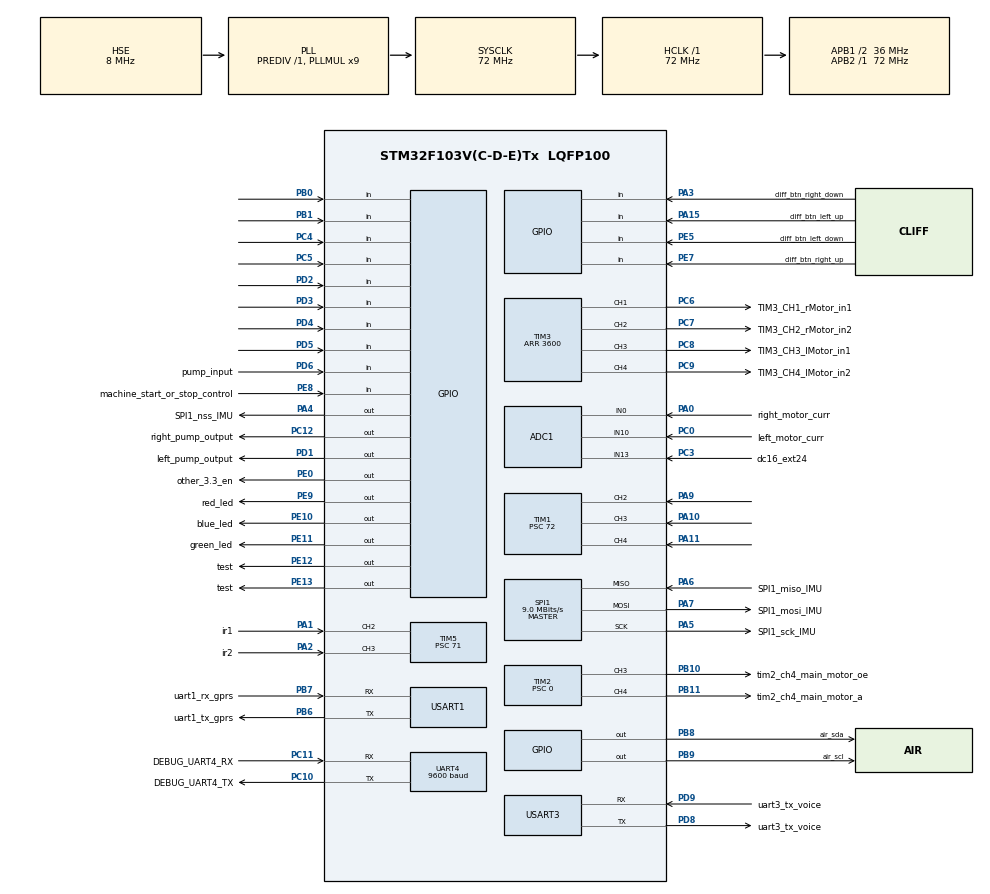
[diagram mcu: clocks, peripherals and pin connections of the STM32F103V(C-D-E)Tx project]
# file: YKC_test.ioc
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ADC1.Channel-0\#ChannelRegularConversion=ADC_CHANNEL_13
ADC1.Channel-1\#ChannelRegularConversion=ADC_CHANNEL_0
ADC1.Channel-2\#ChannelRegularConversion=ADC_CHANNEL_10
ADC1.Channel-3\#ChannelRegularConversion=ADC_CHANNEL_TEMPSENSOR
ADC1.Channel-4\#ChannelRegularConversion=ADC_CHANNEL_VREFINT
ADC1.ExternalTrigConv=ADC_EXTERNALTRIGCONV_T8_TRGO
ADC1.NbrOfConversion=5
ADC1.NbrOfConversionFlag=1
ADC1.Rank-0\#ChannelRegularConversion=1
ADC1.Rank-1\#ChannelRegularConversion=2
ADC1.Rank-2\#ChannelRegularConversion=3
ADC1.Rank-3\#ChannelRegularConversion=4
ADC1.Rank-4\#ChannelRegularConversion=5
ADC1.SamplingTime-0\#ChannelRegularConversion=ADC_SAMPLETIME_1CYCLE_5
ADC1.SamplingTime-1\#ChannelRegularConversion=ADC_SAMPLETIME_1CYCLE_5
ADC1.SamplingTime-2\#ChannelRegularConversion=ADC_SAMPLETIME_1CYCLE_5
ADC1.SamplingTime-3\#ChannelRegularConversion=ADC_SAMPLETIME_239CYCLES_5
ADC1.SamplingTime-4\#ChannelRegularConversion=ADC_SAMPLETIME_1CYCLE_5
ADC1.master=1
Dma.ADC1.0.Direction=DMA_PERIPH_TO_MEMORY
Dma.ADC1.0.Instance=DMA1_Channel1
Dma.ADC1.0.MemDataAlignment=DMA_MDATAALIGN_WORD
Dma.ADC1.0.MemInc=DMA_MINC_ENABLE
Dma.ADC1.0.Mode=DMA_CIRCULAR
Dma.ADC1.0.PeriphDataAlignment=DMA_PDATAALIGN_WORD
Dma.ADC1.0.PeriphInc=DMA_PINC_DISABLE
Dma.ADC1.0.Priority=DMA_PRIORITY_LOW
Dma.Request0=ADC1
Dma.Request1=USART1_RX
Dma.Request2=USART3_RX
Dma.Request3=UART4_RX
Dma.Request4=USART1_TX
Dma.Request5=UART4_TX
Dma.Request6=USART3_TX
Dma.UART4_RX.3.Direction=DMA_PERIPH_TO_MEMORY
Dma.UART4_RX.3.Instance=DMA2_Channel3
Dma.UART4_RX.3.MemDataAlignment=DMA_MDATAALIGN_BYTE
Dma.UART4_RX.3.MemInc=DMA_MINC_ENABLE
Dma.UART4_RX.3.Mode=DMA_NORMAL
Dma.UART4_RX.3.PeriphDataAlignment=DMA_PDATAALIGN_BYTE
Dma.UART4_RX.3.PeriphInc=DMA_PINC_DISABLE
Dma.UART4_RX.3.Priority=DMA_PRIORITY_LOW
Dma.UART4_TX.5.Direction=DMA_MEMORY_TO_PERIPH
Dma.UART4_TX.5.Instance=DMA2_Channel5
Dma.UART4_TX.5.MemDataAlignment=DMA_MDATAALIGN_BYTE
Dma.UART4_TX.5.MemInc=DMA_MINC_ENABLE
Dma.UART4_TX.5.Mode=DMA_NORMAL
Dma.UART4_TX.5.PeriphDataAlignment=DMA_PDATAALIGN_BYTE
Dma.UART4_TX.5.PeriphInc=DMA_PINC_DISABLE
Dma.UART4_TX.5.Priority=DMA_PRIORITY_LOW
Dma.USART1_RX.1.Direction=DMA_PERIPH_TO_MEMORY
Dma.USART1_RX.1.Instance=DMA1_Channel5
Dma.USART1_RX.1.MemDataAlignment=DMA_MDATAALIGN_BYTE
Dma.USART1_RX.1.MemInc=DMA_MINC_ENABLE
Dma.USART1_RX.1.Mode=DMA_NORMAL
Dma.USART1_RX.1.PeriphDataAlignment=DMA_PDATAALIGN_BYTE
Dma.USART1_RX.1.PeriphInc=DMA_PINC_DISABLE
Dma.USART1_RX.1.Priority=DMA_PRIORITY_HIGH
Dma.USART1_TX.4.Direction=DMA_MEMORY_TO_PERIPH
Dma.USART1_TX.4.Instance=DMA1_Channel4
Dma.USART1_TX.4.MemDataAlignment=DMA_MDATAALIGN_BYTE
Dma.USART1_TX.4.MemInc=DMA_MINC_ENABLE
Dma.USART1_TX.4.Mode=DMA_NORMAL
Dma.USART1_TX.4.PeriphDataAlignment=DMA_PDATAALIGN_BYTE
Dma.USART1_TX.4.PeriphInc=DMA_PINC_DISABLE
Dma.USART1_TX.4.Priority=DMA_PRIORITY_HIGH
Dma.USART3_RX.2.Direction=DMA_PERIPH_TO_MEMORY
Dma.USART3_RX.2.Instance=DMA1_Channel3
Dma.USART3_RX.2.MemDataAlignment=DMA_MDATAALIGN_BYTE
Dma.USART3_RX.2.MemInc=DMA_MINC_ENABLE
Dma.USART3_RX.2.Mode=DMA_NORMAL
Dma.USART3_RX.2.PeriphDataAlignment=DMA_PDATAALIGN_BYTE
Dma.USART3_RX.2.PeriphInc=DMA_PINC_DISABLE
Dma.USART3_RX.2.Priority=DMA_PRIORITY_MEDIUM
Dma.USART3_TX.6.Direction=DMA_MEMORY_TO_PERIPH
Dma.USART3_TX.6.Instance=DMA1_Channel2
Dma.USART3_TX.6.MemDataAlignment=DMA_MDATAALIGN_BYTE
Dma.USART3_TX.6.MemInc=DMA_MINC_ENABLE
Dma.USART3_TX.6.Mode=DMA_NORMAL
Dma.USART3_TX.6.PeriphDataAlignment=DMA_PDATAALIGN_BYTE
Dma.USART3_TX.6.PeriphInc=DMA_PINC_DISABLE
Dma.USART3_TX.6.Priority=DMA_PRIORITY_MEDIUM
FREERTOS.Tasks01=DefaultTask,0,128,StartDefaultTask,As weak,NULL,Static,DefaultTaskBuffer,DefaultTaskControlBlock
FREERTOS.configTOTAL_HEAP_SIZE=3072
FREERTOS.configUSE_NEWLIB_REENTRANT=1
FREERTOS.configUSE_TICK_HOOK=1
Mcu.Family=STM32F1
Mcu.Name=STM32F103V(C-D-E)Tx
Mcu.Package=LQFP100
NVIC.DMA1_Channel1_IRQn=true\:5\:0\:false\:false\:true\:true\:false\:true\:true
NVIC.DMA1_Channel2_IRQn=true\:5\:0\:false\:false\:true\:true\:false\:true\:true
NVIC.DMA1_Channel3_IRQn=true\:5\:0\:false\:false\:true\:true\:false\:true\:true
NVIC.DMA1_Channel4_IRQn=true\:5\:0\:false\:false\:true\:true\:false\:true\:true
NVIC.DMA1_Channel5_IRQn=true\:5\:0\:false\:false\:true\:true\:false\:true\:true
NVIC.DMA2_Channel3_IRQn=true\:5\:0\:false\:false\:true\:true\:false\:true\:true
NVIC.DMA2_Channel4_5_IRQn=true\:5\:0\:false\:false\:true\:true\:false\:true\:true
NVIC.PriorityGroup=NVIC_PRIORITYGROUP_4
NVIC.SPI1_IRQn=true\:5\:0\:false\:false\:true\:true\:true\:true\:true
NVIC.TIM1_CC_IRQn=true\:5\:0\:false\:false\:true\:true\:true\:true\:true
NVIC.TIM2_IRQn=true\:5\:0\:false\:false\:true\:true\:true\:true\:true
NVIC.TIM5_IRQn=true\:5\:0\:false\:false\:true\:true\:true\:true\:true
NVIC.UART4_IRQn=true\:5\:0\:false\:false\:true\:true\:true\:true\:true
NVIC.USART1_IRQn=true\:5\:0\:false\:false\:true\:true\:true\:true\:true
NVIC.USART3_IRQn=true\:5\:0\:false\:false\:true\:true\:true\:true\:true
OSC_IN.Mode=HSE-External-Oscillator
OSC_IN.Signal=RCC_OSC_IN
OSC_OUT.Mode=HSE-External-Oscillator
OSC_OUT.Signal=RCC_OSC_OUT
PA0-WKUP.GPIO_Label=right_motor_curr
PA0-WKUP.Signal=ADCx_IN0
PA1.GPIO_Label=ir1
PA1.GPIO_PuPd=GPIO_PULLUP
PA1.Signal=S_TIM5_CH2
PA10.Signal=S_TIM1_CH3
PA11.Signal=S_TIM1_CH4
PA13.Mode=Trace_Asynchronous_SW
PA13.Signal=SYS_JTMS-SWDIO
PA14.Mode=Trace_Asynchronous_SW
PA14.Signal=SYS_JTCK-SWCLK
PA15.GPIO_Label=cliff_btn_left_up
PA15.Signal=GPIO_Input
PA2.GPIO_Label=ir2
PA2.GPIO_PuPd=GPIO_PULLUP
PA2.Signal=S_TIM5_CH3
PA3.GPIO_Label=cliff_btn_right_down
PA3.Signal=GPIO_Input
PA4.GPIO_Label=SPI1_nss_IMU
PA4.PinState=GPIO_PIN_RESET
PA4.Signal=GPIO_Output
PA5.GPIO_Label=SPI1_sck_IMU
PA5.Mode=Full_Duplex_Master
PA5.Signal=SPI1_SCK
PA6.GPIO_Label=SPI1_miso_IMU
PA6.Mode=Full_Duplex_Master
PA6.Signal=SPI1_MISO
PA7.GPIO_Label=SPI1_mosi_IMU
PA7.Mode=Full_Duplex_Master
PA7.Signal=SPI1_MOSI
PA9.Signal=S_TIM1_CH2
PB0.GPIO_Label=right_bounce_btn_?_?
PB0.Signal=GPIO_Input
PB1.GPIO_Label=right_bounce_btn_?_?
PB1.Signal=GPIO_Input
PB10.GPIO_Label=tim2_ch4_main_motor_oe
PB10.Signal=S_TIM2_CH3
PB11.GPIO_Label=tim2_ch4_main_motor_a
PB11.Signal=S_TIM2_CH4
PB3.Mode=Trace_Asynchronous_SW
PB3.Signal=SYS_JTDO-TRACESWO
PB6.GPIO_Label=uart1_tx_gprs
PB6.Mode=Asynchronous
PB6.Signal=USART1_TX
PB7.GPIO_Label=uart1_rx_gprs
PB7.Mode=Asynchronous
PB7.Signal=USART1_RX
PB8.GPIO_Label=air_sda
PB8.GPIO_ModeDefaultOutputPP=GPIO_MODE_OUTPUT_OD
PB8.GPIO_PuPd=GPIO_PULLUP
PB8.GPIO_Speed=GPIO_SPEED_FREQ_HIGH
PB8.PinState=GPIO_PIN_SET
PB8.Signal=GPIO_Output
PB9.GPIO_Label=air_scl
PB9.GPIO_ModeDefaultOutputPP=GPIO_MODE_OUTPUT_OD
PB9.GPIO_PuPd=GPIO_PULLUP
PB9.GPIO_Speed=GPIO_SPEED_FREQ_HIGH
PB9.PinState=GPIO_PIN_SET
PB9.Signal=GPIO_Output
PC0.GPIO_Label=left_motor_curr
PC0.Signal=ADCx_IN10
PC10.GPIO_Label=DEBUG_UART4_TX
PC10.Mode=Asynchronous
PC10.Signal=UART4_TX
PC11.GPIO_Label=DEBUG_UART4_RX
PC11.Mode=Asynchronous
PC11.Signal=UART4_RX
PC12.GPIO_Label=right_pump_output
PC12.GPIO_ModeDefaultOutputPP=GPIO_MODE_OUTPUT_PP
PC12.GPIO_PuPd=GPIO_PULLUP
PC12.Signal=GPIO_Output
PC14-OSC32_IN.Mode=LSE-External-Oscillator
PC14-OSC32_IN.Signal=RCC_OSC32_IN
PC15-OSC32_OUT.Mode=LSE-External-Oscillator
PC15-OSC32_OUT.Signal=RCC_OSC32_OUT
PC3.GPIO_Label=dc16_ext24
PC3.Signal=ADCx_IN13
PC4.GPIO_Label=right_bounce_btn_?_?
PC4.Signal=GPIO_Input
PC5.GPIO_Label=right_bounce_btn_?_?
PC5.Signal=GPIO_Input
PC6.GPIO_Label=TIM3_CH1_rMotor_in1
PC6.Signal=S_TIM3_CH1
PC7.GPIO_Label=TIM3_CH2_rMotor_in2
PC7.Signal=S_TIM3_CH2
PC8.GPIO_Label=TIM3_CH3_lMotor_in1
PC8.Signal=S_TIM3_CH3
PC9.GPIO_Label=TIM3_CH4_lMotor_in2
PC9.Signal=S_TIM3_CH4
PD1.GPIO_Label=left_pump_output
PD1.GPIO_PuPd=GPIO_PULLUP
PD1.PinState=GPIO_PIN_RESET
PD1.Signal=GPIO_Output
PD2.GPIO_Label=left_bounce_btn_?_?
PD2.Signal=GPIO_Input
PD3.GPIO_Label=left_bounce_btn_?_?
PD3.Signal=GPIO_Input
PD4.GPIO_Label=left_bounce_btn_?_?
PD4.Signal=GPIO_Input
PD5.GPIO_Label=left_bounce_btn_?_?
PD5.Signal=GPIO_Input
PD6.GPIO_Label=pump_input
PD6.GPIO_PuPd=GPIO_PULLUP
PD6.Signal=GPIO_Input
PD8.GPIO_Label=uart3_tx_voice
PD8.Mode=Asynchronous
PD8.Signal=USART3_TX
PD9.GPIO_Label=uart3_tx_voice
PD9.Mode=Asynchronous
PD9.Signal=USART3_RX
PE0.GPIO_Label=other_3.3_en
PE0.GPIO_PuPd=GPIO_PULLUP
PE0.Signal=GPIO_Output
PE10.GPIO_Label=blue_led
PE10.GPIO_PuPd=GPIO_PULLUP
PE10.Signal=GPIO_Output
PE11.GPIO_Label=green_led
PE11.GPIO_PuPd=GPIO_PULLUP
PE11.Signal=GPIO_Output
PE12.GPIO_Label=test
PE12.Signal=GPIO_Output
PE13.GPIO_Label=test
PE13.Signal=GPIO_Output
PE5.GPIO_Label=cliff_btn_left_down
PE5.Signal=GPIO_Input
PE7.GPIO_Label=cliff_btn_right_up
PE7.GPIO_PuPd=GPIO_PULLUP
PE7.Signal=GPIO_Input
PE8.GPIO_Label=machine_start_or_stop_control
PE8.Signal=GPIO_Input
PE9.GPIO_Label=red_led
PE9.GPIO_PuPd=GPIO_PULLUP
PE9.Signal=GPIO_Output
ProjectManager.HeapSize=0x200
ProjectManager.StackSize=0x400
ProjectManager.TargetToolchain=STM32CubeIDE
RCC.ADCPresc=RCC_ADCPCLK2_DIV6
RCC.AHBFreq_Value=72000000
RCC.APB1CLKDivider=RCC_HCLK_DIV2
RCC.APB1Freq_Value=36000000
RCC.APB1TimFreq_Value=72000000
RCC.APB2Freq_Value=72000000
RCC.APB2TimFreq_Value=72000000
RCC.HCLKFreq_Value=72000000
RCC.PLLMUL=RCC_PLL_MUL9
RCC.PLLSourceVirtual=RCC_PLLSOURCE_HSE
RCC.RTCClockSelection=RCC_RTCCLKSOURCE_LSE
RCC.SYSCLKFreq_VALUE=72000000
RCC.SYSCLKSource=RCC_SYSCLKSOURCE_PLLCLK
RCC.USBFreq_Value=72000000
SH.ADCx_IN0.0=ADC1_IN0,IN0
SH.ADCx_IN10.0=ADC1_IN10,IN10
SH.ADCx_IN13.0=ADC1_IN13,IN13
SH.S_TIM1_CH2.0=TIM1_CH2,Input_Capture2_from_TI2
SH.S_TIM1_CH3.0=TIM1_CH3,Input_Capture3_from_TI3
SH.S_TIM1_CH4.0=TIM1_CH4,Input_Capture4_from_TI4
SH.S_TIM2_CH3.0=TIM2_CH3,PWM Generation3 CH3
SH.S_TIM2_CH4.0=TIM2_CH4,PWM Generation4 CH4
SH.S_TIM3_CH1.0=TIM3_CH1,PWM Generation1 CH1
SH.S_TIM3_CH2.0=TIM3_CH2,PWM Generation2 CH2
SH.S_TIM3_CH3.0=TIM3_CH3,PWM Generation3 CH3
SH.S_TIM3_CH4.0=TIM3_CH4,PWM Generation4 CH4
SH.S_TIM5_CH2.0=TIM5_CH2,Input_Capture2_from_TI2
SH.S_TIM5_CH3.0=TIM5_CH3,Input_Capture3_from_TI3
SPI1.BaudRatePrescaler=SPI_BAUDRATEPRESCALER_8
SPI1.CalculateBaudRate=9.0 MBits/s
SPI1.Direction=SPI_DIRECTION_2LINES
SPI1.Mode=SPI_MODE_MASTER
SPI1.VirtualType=VM_MASTER
TIM1.Channel-Input_Capture2_from_TI2=TIM_CHANNEL_2
TIM1.Channel-Input_Capture3_from_TI3=TIM_CHANNEL_3
TIM1.Channel-Input_Capture4_from_TI4=TIM_CHANNEL_4
TIM1.Prescaler=72
TIM2.AutoReloadPreload=TIM_AUTORELOAD_PRELOAD_DISABLE
TIM2.Channel-PWM\ Generation3\ CH3=TIM_CHANNEL_3
TIM2.Channel-PWM\ Generation4\ CH4=TIM_CHANNEL_4
TIM2.OCPolarity_3=TIM_OCPOLARITY_HIGH
TIM2.OCPolarity_4=TIM_OCPOLARITY_LOW
TIM2.Period=3600
TIM2.Prescaler=0
TIM2.Pulse-PWM\ Generation4\ CH4=0
TIM3.Channel-PWM\ Generation1\ CH1=TIM_CHANNEL_1
TIM3.Channel-PWM\ Generation2\ CH2=TIM_CHANNEL_2
TIM3.Channel-PWM\ Generation3\ CH3=TIM_CHANNEL_3
TIM3.Channel-PWM\ Generation4\ CH4=TIM_CHANNEL_4
TIM3.Period=3600
TIM5.AutoReloadPreload=TIM_AUTORELOAD_PRELOAD_ENABLE
TIM5.Channel-Input_Capture2_from_TI2=TIM_CHANNEL_2
TIM5.Channel-Input_Capture3_from_TI3=TIM_CHANNEL_3
TIM5.ICPolarity_CH2=TIM_INPUTCHANNELPOLARITY_FALLING
TIM5.ICPolarity_CH3=TIM_INPUTCHANNELPOLARITY_FALLING
TIM5.Period=65535
TIM5.Prescaler=71
TIM8.Channel-PWM\ Generation2\ CH2=TIM_CHANNEL_2
TIM8.Channel-PWM\ Generation4\ CH4=TIM_CHANNEL_4
TIM8.Period=999
TIM8.Prescaler=71
TIM8.Pulse-PWM\ Generation2\ CH2=500
TIM8.Pulse-PWM\ Generation4\ CH4=500
TIM8.TIM_MasterOutputTrigger=TIM_TRGO_UPDATE
UART4.BaudRate=9600
UART4.VirtualMode=Asynchronous
USART1.VirtualMode=VM_ASYNC
USART3.VirtualMode=VM_ASYNC
VP_ADC1_TempSens_Input.Mode=IN-TempSens
VP_ADC1_Vref_Input.Mode=IN-Vrefint
VP_FREERTOS_VS_CMSIS_V1.Mode=CMSIS_V1
VP_IWDG_VS_IWDG.Mode=IWDG_Activate
VP_RTC_VS_RTC_Activate.Mode=RTC_Enabled
VP_TIM1_VS_ClockSourceINT.Mode=Internal
VP_TIM2_VS_ClockSourceINT.Mode=Internal
VP_TIM3_VS_ClockSourceINT.Mode=Internal
VP_TIM5_VS_ClockSourceINT.Mode=Internal
VP_TIM8_VS_ClockSourceINT.Mode=Internal
board=custom

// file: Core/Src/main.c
/* USER CODE BEGIN Header */
/**
  ******************************************************************************
  * @file           : main.c
  * @brief          : Main program body
  ******************************************************************************
  * @attention
  *
  * Copyright (c) 2024 STMicroelectronics.
  * All rights reserved.
  *
  * This software is licensed under terms that can be found in the LICENSE file
  * in the root directory of this software component.
  * If no LICENSE file comes with this software, it is provided AS-IS.
  *
  ******************************************************************************
  */
/* USER CODE END Header */
#include "main.h"
#include "cmsis_os.h"

/* USER CODE BEGIN Includes */
#include "GlobalVar.h"
#include "MdlSys.h"
#include "MdlUARTnModbus.h"
#if SUPPORT_GPRS
#include "MdlGprs.h"
#endif
#include <stdio.h>
/* USER CODE END Includes */

ADC_HandleTypeDef hadc1;
DMA_HandleTypeDef hdma_adc1;

IWDG_HandleTypeDef hiwdg;

RTC_HandleTypeDef hrtc;

SPI_HandleTypeDef hspi1;

TIM_HandleTypeDef htim1;
TIM_HandleTypeDef htim2;
TIM_HandleTypeDef htim3;
TIM_HandleTypeDef htim5;
TIM_HandleTypeDef htim8;

UART_HandleTypeDef huart4;		/* 用于调试输出 UartNo: 0 */
UART_HandleTypeDef huart1;		/* 用于GPRS通信 UartNo: 2 */
UART_HandleTypeDef huart3;		/* 用于语音模块通信 UartNo: 1 */
DMA_HandleTypeDef hdma_uart4_rx;
DMA_HandleTypeDef hdma_uart4_tx;
DMA_HandleTypeDef hdma_usart1_rx;
DMA_HandleTypeDef hdma_usart1_tx;
DMA_HandleTypeDef hdma_usart3_rx;
DMA_HandleTypeDef hdma_usart3_tx;

osThreadId DefaultTaskHandle;
uint32_t DefaultTaskBuffer[ 128 ];
osStaticThreadDef_t DefaultTaskControlBlock;

void SystemClock_Config(void);
static void MX_GPIO_Init(void);
static void MX_DMA_Init(void);
static void MX_UART4_Init(void);
static void MX_TIM8_Init(void);
static void MX_ADC1_Init(void);
static void MX_TIM3_Init(void);
static void MX_TIM2_Init(void);
static void MX_RTC_Init(void);
static void MX_USART3_UART_Init(void);
static void MX_SPI1_Init(void);
static void MX_TIM5_Init(void);
static void MX_TIM1_Init(void);
static void MX_IWDG_Init(void);
static void MX_USART1_UART_Init(void);
void StartDefaultTask(void const * argument);

/* USER CODE BEGIN 0 */
SEM_Handle SEM_CtrTskRun, SEM_NvMemAcs;
TSK_Handle CtrTaskHandle, TSK_DataAcs;
osStaticThreadDef_t CtrTskCtlBlk;
osStaticSemaphoreDef_t CtrSemCtlBlk;
#define CTR_TSK_STACK_BLEN		2048
uint8 CtrTaskStack[CTR_TSK_STACK_BLEN];
void CtrTask(const void* argument);
int main(void);
extern void __libc_init_array(void);
TSK_Handle MqttSubTaskHandle;
TSK_Handle MqttPubTaskHandle;
void NetTask(const void* argument);

osStaticThreadDef_t MqttPubTskCtlBlk;
//void MqttPubTask(void);

osStaticThreadDef_t MqttSubTskCtlBlk;
//void MqttSubTask(void);

/* 閻拷.s缂堟槒鐦ч懛铏劃閿涘本顒濋崙鑺ユ殶闁灝鍘ゆ担璺ㄦ暏閸忋劌鐪崣姗�鍣洪敍灞芥礈娑撳搫鍨垫慨瀣閺冩湹绱伴弨鐟板綁娴犳牜娈戦崐锟� */
void _c_int00(void)
{
	uint32 *pValInitSrc;
	uint32 *pValInitDst;

	extern unsigned int _sdata, _edata, _sidata, _sbss, _ebss;		/* 鏉╂瑤绨洪崣姗�鍣洪惃鍕暰娑斿婀柧鐐复閼存碍婀伴柌锟� */

    /* Call the clock system initialization function. */
    SystemInit();

    /* Copy the data segment initializers from flash to SRAM (LoopCopyDataInit)*/
    pValInitSrc = (uint32*)&_sidata;
    pValInitDst = (uint32*)&_sdata;
    while (pValInitDst < (uint32*)&_edata) {
        *pValInitDst++ = *pValInitSrc++;
    }

    /* Zero fill the bss segment.(LoopFillZerobss) */
    pValInitSrc = (uint32*)&_sbss;		/* _sbss韫囧懘銆忛悽銊︾垽闁夸礁鐡� */
	pValInitDst = (uint32*)&_ebss;
    while (pValInitSrc < pValInitDst) {
        *pValInitSrc++ = 0;
    }

    /* ResetFunc();	TODO:閹跺ィI閻ㄥ嫭灏撻崚鐧塺vTI */

    /* Call static constructors */
    __libc_init_array();

    /* Call the application's entry point. */
    main();
}

int __io_putchar(int ch)
{
	HAL_UART_Transmit(g_UartComm[0].Handle, (uint8_t *)&ch, 1, 1000);
	return ch;
}
/* USER CODE END 0 */

int main(void)
{
  /* USER CODE BEGIN 1 */
//  /* 閸氬本顒炵�规碍妞傞崳锟� */
//  volatile uint32* pU32 = (uint32*)0xE0042008;
//  *pU32 = 0x000F;   /* debug閺嗗倸浠燙PU閿涘苯浠燭IM2/3/4/5閿涘奔澶嶉弮鑸碉拷褏娈� */
//  pU32 = (uint32*)0xE004200C;
//  *pU32 = 0x0003;   /* debug閺嗗倸浠燙PU閿涘苯浠燭IM1/8閿涘奔澶嶉弮鑸碉拷褏娈� */
//  htim2.Instance->EGR = 1;  /* 閺堬拷娴ｅ簼缍匲G缂冾喕璐�1閿涘矂鍣哥純顔款吀閺佹澘娅掗敍灞间簰娓氬灝鐤勯悳鏉跨暰閺冭泛娅掗崥灞绢劄 */
	InitDebugDat();
// 	g_CodeTest.i32Val[99] = SOFTWARE_VER;
// 	volatile uint32 reset_cause = RCC->CSR;
// 	RCC->CSR |= RCC_CSR_RMVF;  // 写 1 清除
  /* USER CODE END 1 */
  /* MCU Configuration--------------------------------------------------------*/

  /* Reset of all peripherals, Initializes the Flash interface and the Systick. */
  HAL_Init();

  /* Configure the system clock */
  SystemClock_Config();

  /* Initialize all configured peripherals */
  MX_GPIO_Init();
  MX_DMA_Init();
  MX_UART4_Init();
  MX_TIM8_Init();
  MX_ADC1_Init();
  MX_TIM3_Init();
  MX_TIM2_Init();
  MX_RTC_Init();
  MX_USART3_UART_Init();
  MX_SPI1_Init();
  MX_TIM5_Init();
  MX_TIM1_Init();
//  MX_IWDG_Init();
  MX_USART1_UART_Init();

  /* USER CODE BEGIN 2 */
  /* 閺囧瓨鏌婇崥顖氬З閻╃鍙ч崣姗�鍣洪敍灞筋洤閺嬫粍妲搁崘宄版儙閸旓拷(RCC_CSR_PORRSTF)閵嗕礁宕岀痪褎鍨ㄦ禍杞拌礋鏉烆垯娆㈤柌宥呮儙(RCC_CSR_PINRSTF|RCC_CSR_SFTRSTF)閵嗕浇鐨熺拠鏇犲閺堫剨绱濋崚娆忕殺闁插秴鎯庣拋鈩冩殶濞撳懘娴� */
  #if (DEVICE_TYPE == YKC)
  if((RCC->CSR & RCC_CSR_PORRSTF) || CheckDebugVersion()) {
	  g_Sys.uRstCount = 0;
  } else if((g_Sys.uRstCount < 0xFFFF) && (g_Sys.bCtrMdlOK)) {
	  g_Sys.uRstCount++;
  }
  #else	/* YYT4S etc */
  if((RCC->CSR & (RCC_CSR_BORRSTF | RCC_CSR_PORRSTF)) || CheckDebugVersion()) {
	  g_Sys.uRstCount = 0;
	  g_Sys.u32UpTimer_s = 0;
	} else if((g_Sys.uRstCount < 0xFFFF)) {
	  if(g_Sys.bCtrMdlOK) {
		  g_Sys.uRstCount++;
	  }
	}
  #endif
  RCC->CSR = RCC_CSR_RMVF;  	/* 閸氼垰濮╅崢鐔锋礈鐎靛嫬鐡ㄩ崳銊ヮ槻娴ｏ拷 */
  g_Sys.u32RstTimer_s = 0;
  g_Sys.uTmr_1Hz = 1000;

  /* 閸掓繂顫愰崠鏍у彠闁款喖褰夐柌锟� */
	g_Sys.bCtrMdlOK = FALSE;
	g_Sys.tReboot_0Null_nUrgent_pWaitIdle = 0;
	g_Sys.u8Tmr_RstExtNet_tick = 0;
	g_Sys.u32Seconds_LastSyncRTC = 0;
	g_Sys.iTimer_nSoftChkWaitTick_pErrCode = -600;    /* 鏉╁洣绔撮崚鍡涙寭閸愬秴浠涢崚銈嗘焽--SysTask鐠嬪啰鏁ゆ０鎴犲芳閺勶拷10Hz閿涘苯姘ㄧ粻妞剧瑝閸戝棴绱濋崗宕囬兇娑旂喍绗夋径锟� */

	if(g_Sys.uRstCount == 0) {
		InitDataWithZero((uint8*)(&g_DataAcsIntf), sizeof(g_DataAcsIntf));
		InitDataWithZero((uint8*)(&g_Ctr), sizeof(g_Ctr));
		g_Sys.uTmr_EraseFlash_DistPwr_ms = 0;
	}
  /* USER CODE END 2 */
	// todo test
//	memset(&g_MqttComm, 0, sizeof(g_MqttComm));

  /* Create the thread(s) */
  /* definition and creation of DefaultTask */
  osThreadStaticDef(DefaultTask, StartDefaultTask, osPriorityNormal, 0, 128, DefaultTaskBuffer, &DefaultTaskControlBlock);
  DefaultTaskHandle = osThreadCreate(osThread(DefaultTask), NULL);

  /* USER CODE BEGIN RTOS_THREADS */
  TaskCreate("SysTask", SysTask, NULL, osPriorityLow, 1, (uint8*)g_SysBlock.SysStackBuf, SYS_TASK_STACK_BLEN, &g_SysBlock.SysTaskCtlBlk);

  /* 闁俺顔嗘禒璇插 */
  /* UART */
  InitUartComm();

  g_UartComm[0].Handle = &huart4;				/* 调试输出 */
  g_UartComm[0].bIsUseDMAModeRx = TRUE;			/* 使用DMA接收 */
  g_UartComm[0].bIsUseDMAModeTx = TRUE;			/* 使用DMA发送 */
  g_UartComm[0].Sem_TxCplt = SemCreate("Uart0TxCplt", 1, &g_UartBlock[0].TxSemCtlBlk);
  g_UartComm[0].Sem_RxGet = SemCreate("Uart0RxCplt", 1, &g_UartBlock[0].RxSemCtlBlk);

//  TaskCreate("UartTask0", UartCommTask, (uint32*)0, osPriorityHigh, 0, g_UartBlock[0].Stack, MAX_UART_TASK_STACK_LEN, &g_UartBlock[0].TaskCtlBlk);		姝や覆鍙ｄ笉鐢ㄧ嫭绔嬩换鍔＄鐞嗭紝鑰岀敱璋冭瘯闇�姹傝礋璐ｇ鐞�

  g_UartComm[1].Handle = &huart3;				/* 语音模块 */
  g_UartComm[1].bIsUseDMAModeRx = TRUE;			/* 使用DMA接收 */
  g_UartComm[1].bIsUseDMAModeTx = FALSE;		/* 使用DMA发送 */
  g_UartComm[1].Sem_TxCplt = SemCreate("Uart1TxCplt", 1, &g_UartBlock[1].TxSemCtlBlk);
  g_UartComm[1].Sem_RxGet = SemCreate("Uart1RxCplt", 1, &g_UartBlock[1].RxSemCtlBlk);
//  TaskCreate("UartTask1", UartCommTask, (uint32*)0, osPriorityHigh, 0, g_UartBlock[1].Stack, MAX_UART_TASK_STACK_LEN, &g_UartBlock[1].TaskCtlBlk);		姝や覆鍙ｄ笉鐢ㄧ嫭绔嬩换鍔＄鐞嗭紝鑰岀敱TTS璇煶妯″潡鍔熻兘璐熻矗绠＄悊

  g_UartComm[2].Handle = &huart1;				/* GPRS */
  g_UartComm[2].bIsUseDMAModeRx = TRUE;			/* 使用DMA接收 */
  g_UartComm[2].bIsUseDMAModeTx = FALSE;		/* 使用DMA发送 */
  g_UartComm[2].Sem_TxCplt = SemCreate("Uart2TxCplt", 1, &g_UartBlock[2].TxSemCtlBlk);
  g_UartComm[2].Sem_RxGet = SemCreate("Uart2RxCplt", 1, &g_UartBlock[2].RxSemCtlBlk);
  g_UartComm[2].uRxBufPt = 0;
//  TaskCreate("UartTask2", UartCommTask, (uint32*)0, osPriorityHigh, 0, g_UartBlock[2].Stack, MAX_UART_TASK_STACK_LEN, &g_UartBlock[2].TaskCtlBlk);		姝や覆鍙ｄ笉鐢ㄧ嫭绔嬩换鍔＄鐞嗭紝鑰岀敱GPRS鍔熻兘璐熻矗绠＄悊

  /* SPI */
  g_SPIComm[0].Handle = &hspi1;
  //Sem_TxCplt閸︹垼penSPI鐟侊拷

  /* 閹貉冨煑娴犺濮� */
  g_SysBlock.SEM_Ctr = SemCreate("CtrRun", 1, &g_SysBlock.RunSemCtlBlk);
  TaskCreate("CtrTask", CtrTask, NULL, osPriorityRealtime, 1, (uint8*)g_SysBlock.CtrStackBuf, CTR_TASK_STACK_BLEN, &g_SysBlock.CtrTaskCtlBlk);

  /* 鐎涙ê鍋嶆禒璇插(临时注释) */
  g_DataAccessBlock.Sem_Op = SemCreate("NvMemOp", 1, &g_DataAccessBlock.OpSemCtlBlk);
  g_DataAccessBlock.DataAcsTSK = TaskCreate("DataAcs", DataAccessTask, NULL, osPriorityRealtime, 1, g_DataAccessBlock.Stack, DATA_ACCESS_TASK_STACK_LEN, &g_DataAccessBlock.TaskCtlBlk);

  /* 缂冩垹绮舵禒璇插 */
#if SUPPORT_GPRS
  /* GPRS req */
  g_GprsComm.Sem_GprsReq = SemCreate("GprsReq", 1, &g_GprsComm.SemCtlBlk);
  Semaphore_post(g_GprsComm.Sem_GprsReq);
#endif

  /* Mqtt pub sem */
  SEM_MqttPubReq = SemCreate("MqttPubReq", 1, &MqttPubReqSemCtlBlk);

  /* MQTT sub task osPriorityBelowNormal*/
  g_GprsComm.GprsStatus = GPRS_NOT_INIT;
  MqttSubTaskHandle = TaskCreate("MqttSub", MqttSubTask, NULL, osPriorityBelowNormal,
		  0, (uint8*)g_MqttComm[MQTT_TYPE_SUB].u32TaskStack, MQTT_TASK_STACK, &MqttSubTskCtlBlk);

  /* MQTT pub task */
  MqttPubTaskHandle = TaskCreate("MqttPub", MqttPubTask, NULL, osPriorityBelowNormal,
		  0, (uint8*)g_MqttComm[MQTT_TYPE_PUB].u32TaskStack, MQTT_TASK_STACK, &MqttPubTskCtlBlk);

  /* USER CODE END RTOS_THREADS */

  /* Start scheduler */
  osKernelStart();

  /* We should never get here as control is now taken by the scheduler */
  /* Infinite loop */
  while (1)
  {

  }
}

void SystemClock_Config(void)
{
  RCC_OscInitTypeDef RCC_OscInitStruct = {0};
  RCC_ClkInitTypeDef RCC_ClkInitStruct = {0};
  RCC_PeriphCLKInitTypeDef PeriphClkInit = {0};

  /** Initializes the RCC Oscillators according to the specified parameters
  * in the RCC_OscInitTypeDef structure.
  */
  RCC_OscInitStruct.OscillatorType = RCC_OSCILLATORTYPE_LSI|RCC_OSCILLATORTYPE_HSE
                              |RCC_OSCILLATORTYPE_LSE;
  RCC_OscInitStruct.HSEState = RCC_HSE_ON;
  RCC_OscInitStruct.HSEPredivValue = RCC_HSE_PREDIV_DIV1;
  RCC_OscInitStruct.LSEState = RCC_LSE_ON;
  RCC_OscInitStruct.HSIState = RCC_HSI_ON;
  RCC_OscInitStruct.LSIState = RCC_LSI_ON;
  RCC_OscInitStruct.PLL.PLLState = RCC_PLL_ON;
  RCC_OscInitStruct.PLL.PLLSource = RCC_PLLSOURCE_HSE;
  RCC_OscInitStruct.PLL.PLLMUL = RCC_PLL_MUL9;
  if (HAL_RCC_OscConfig(&RCC_OscInitStruct) != HAL_OK)
  {
    Error_Handler();
  }

  /** Initializes the CPU, AHB and APB buses clocks
  */
  RCC_ClkInitStruct.ClockType = RCC_CLOCKTYPE_HCLK|RCC_CLOCKTYPE_SYSCLK
                              |RCC_CLOCKTYPE_PCLK1|RCC_CLOCKTYPE_PCLK2;
  RCC_ClkInitStruct.SYSCLKSource = RCC_SYSCLKSOURCE_PLLCLK;
  RCC_ClkInitStruct.AHBCLKDivider = RCC_SYSCLK_DIV1;
  RCC_ClkInitStruct.APB1CLKDivider = RCC_HCLK_DIV2;
  RCC_ClkInitStruct.APB2CLKDivider = RCC_HCLK_DIV1;

  if (HAL_RCC_ClockConfig(&RCC_ClkInitStruct, FLASH_LATENCY_2) != HAL_OK)
  {
    Error_Handler();
  }
  PeriphClkInit.PeriphClockSelection = RCC_PERIPHCLK_RTC|RCC_PERIPHCLK_ADC;
  PeriphClkInit.RTCClockSelection = RCC_RTCCLKSOURCE_LSE;
  PeriphClkInit.AdcClockSelection = RCC_ADCPCLK2_DIV6;
  if (HAL_RCCEx_PeriphCLKConfig(&PeriphClkInit) != HAL_OK)
  {
    Error_Handler();
  }
}

static void MX_ADC1_Init(void)
{

  ADC_ChannelConfTypeDef sConfig = {0};

  /** Common config
  */
  hadc1.Instance = ADC1;
  hadc1.Init.ScanConvMode = ADC_SCAN_ENABLE;
  hadc1.Init.ContinuousConvMode = DISABLE;
  hadc1.Init.DiscontinuousConvMode = DISABLE;
  hadc1.Init.ExternalTrigConv = ADC_EXTERNALTRIGCONV_T8_TRGO;
  hadc1.Init.DataAlign = ADC_DATAALIGN_RIGHT;
  hadc1.Init.NbrOfConversion = 5;
  if (HAL_ADC_Init(&hadc1) != HAL_OK)
  {
    Error_Handler();
  }

  /** Enable or disable the remapping of ADC1_ETRGREG:
  * ADC1 External Event regular conversion is connected to TIM8 TRG0
  */
  __HAL_AFIO_REMAP_ADC1_ETRGREG_ENABLE();

  /** Configure Regular Channel
  */
  sConfig.Channel = ADC_CHANNEL_13;
  sConfig.Rank = ADC_REGULAR_RANK_1;
  sConfig.SamplingTime = ADC_SAMPLETIME_1CYCLE_5;
  if (HAL_ADC_ConfigChannel(&hadc1, &sConfig) != HAL_OK)
  {
    Error_Handler();
  }

  /** Configure Regular Channel
  */
  sConfig.Channel = ADC_CHANNEL_0;
  sConfig.Rank = ADC_REGULAR_RANK_2;
  if (HAL_ADC_ConfigChannel(&hadc1, &sConfig) != HAL_OK)
  {
    Error_Handler();
  }

  /** Configure Regular Channel
  */
  sConfig.Channel = ADC_CHANNEL_10;
  sConfig.Rank = ADC_REGULAR_RANK_3;
  if (HAL_ADC_ConfigChannel(&hadc1, &sConfig) != HAL_OK)
  {
    Error_Handler();
  }

  /** Configure Regular Channel
  */
  sConfig.Channel = ADC_CHANNEL_TEMPSENSOR;
  sConfig.Rank = ADC_REGULAR_RANK_4;
  sConfig.SamplingTime = ADC_SAMPLETIME_239CYCLES_5;
  if (HAL_ADC_ConfigChannel(&hadc1, &sConfig) != HAL_OK)
  {
    Error_Handler();
  }

  /** Configure Regular Channel
  */
  sConfig.Channel = ADC_CHANNEL_VREFINT;
  sConfig.Rank = ADC_REGULAR_RANK_5;
  sConfig.SamplingTime = ADC_SAMPLETIME_1CYCLE_5;
  if (HAL_ADC_ConfigChannel(&hadc1, &sConfig) != HAL_OK)
  {
    Error_Handler();
  }
  /* USER CODE BEGIN ADC1_Init 2 */
  HAL_ADC_Start_IT(&hadc1);
  HAL_ADC_Start_DMA(&hadc1, (uint32_t*)g_AdcDmaBuf.u32Adc1Res, 5);
  /* USER CODE END ADC1_Init 2 */

}

static void MX_IWDG_Init(void)
{

  /* USER CODE BEGIN IWDG_Init 1 */
	/* 閹稿娓跺锟介崥顖滄箙闂傘劎瀚� */
	if(SOFT_RELEASE1_DEBUG0 || (g_Sys.SerialNo.u32Dat >= 10000000UL)) {
  /* USER CODE END IWDG_Init 1 */
  hiwdg.Instance = IWDG;
  hiwdg.Init.Prescaler = IWDG_PRESCALER_8;
  hiwdg.Init.Reload = 4095;
  if (HAL_IWDG_Init(&hiwdg) != HAL_OK)
  {
    Error_Handler();
  }
	}

}

static void MX_RTC_Init(void)
{

  /** Initialize RTC Only
  */
  hrtc.Instance = RTC;
  hrtc.Init.AsynchPrediv = RTC_AUTO_1_SECOND;
  hrtc.Init.OutPut = RTC_OUTPUTSOURCE_ALARM;
  if (HAL_RTC_Init(&hrtc) != HAL_OK)
  {
    Error_Handler();
  }

}

static void MX_SPI1_Init(void)
{

  /* SPI1 parameter configuration*/
  hspi1.Instance = SPI1;
  hspi1.Init.Mode = SPI_MODE_MASTER;
  hspi1.Init.Direction = SPI_DIRECTION_2LINES;
  hspi1.Init.DataSize = SPI_DATASIZE_8BIT;
  hspi1.Init.CLKPolarity = SPI_POLARITY_LOW;
  hspi1.Init.CLKPhase = SPI_PHASE_1EDGE;
  hspi1.Init.NSS = SPI_NSS_SOFT;
  hspi1.Init.BaudRatePrescaler = SPI_BAUDRATEPRESCALER_8;
  hspi1.Init.FirstBit = SPI_FIRSTBIT_MSB;
  hspi1.Init.TIMode = SPI_TIMODE_DISABLE;
  hspi1.Init.CRCCalculation = SPI_CRCCALCULATION_DISABLE;
  hspi1.Init.CRCPolynomial = 10;
  if (HAL_SPI_Init(&hspi1) != HAL_OK)
  {
    Error_Handler();
  }

}

static void MX_TIM1_Init(void)
{

  TIM_ClockConfigTypeDef sClockSourceConfig = {0};
  TIM_MasterConfigTypeDef sMasterConfig = {0};
  TIM_IC_InitTypeDef sConfigIC = {0};

  htim1.Instance = TIM1;
  htim1.Init.Prescaler = 72;
  htim1.Init.CounterMode = TIM_COUNTERMODE_UP;
  htim1.Init.Period = 65535;
  htim1.Init.ClockDivision = TIM_CLOCKDIVISION_DIV1;
  htim1.Init.RepetitionCounter = 0;
  htim1.Init.AutoReloadPreload = TIM_AUTORELOAD_PRELOAD_DISABLE;
  if (HAL_TIM_Base_Init(&htim1) != HAL_OK)
  {
    Error_Handler();
  }
  sClockSourceConfig.ClockSource = TIM_CLOCKSOURCE_INTERNAL;
  if (HAL_TIM_ConfigClockSource(&htim1, &sClockSourceConfig) != HAL_OK)
  {
    Error_Handler();
  }
  if (HAL_TIM_IC_Init(&htim1) != HAL_OK)
  {
    Error_Handler();
  }
  sMasterConfig.MasterOutputTrigger = TIM_TRGO_RESET;
  sMasterConfig.MasterSlaveMode = TIM_MASTERSLAVEMODE_DISABLE;
  if (HAL_TIMEx_MasterConfigSynchronization(&htim1, &sMasterConfig) != HAL_OK)
  {
    Error_Handler();
  }
  sConfigIC.ICPolarity = TIM_INPUTCHANNELPOLARITY_RISING;
  sConfigIC.ICSelection = TIM_ICSELECTION_DIRECTTI;
  sConfigIC.ICPrescaler = TIM_ICPSC_DIV1;
  sConfigIC.ICFilter = 0;
  if (HAL_TIM_IC_ConfigChannel(&htim1, &sConfigIC, TIM_CHANNEL_2) != HAL_OK)
  {
    Error_Handler();
  }
  if (HAL_TIM_IC_ConfigChannel(&htim1, &sConfigIC, TIM_CHANNEL_3) != HAL_OK)
  {
    Error_Handler();
  }
  if (HAL_TIM_IC_ConfigChannel(&htim1, &sConfigIC, TIM_CHANNEL_4) != HAL_OK)
  {
    Error_Handler();
  }
  /* USER CODE BEGIN TIM1_Init 2 */
  /* 闂囷拷鐟曚浇顔曠純鐡笴MR.CCxS(閸忎浇顔忛幑鏇熷磸) ICxF(鏉╁洦鎶ら崳锟�) ICxPSC(閸掑棝顣堕崳锟�) */
  htim1.Instance->CCMR1 = 0x0100;
  htim1.Instance->CCMR2 = 0x0101;
  /* 闂囷拷鐟曚浇顔曠純鐡笴ER.CCxE CCxP(0娴狅綀銆冩稉濠傚磳濞岋拷) */
  htim1.Instance->CCER = 0x1110;
  /* 闂囷拷鐟曚浇顔曠純顔煎帒鐠侀晲鑵戦弬锟� DIER.CCxE CCxP */
  htim1.Instance->DIER = 0x1C;
  HAL_TIM_Base_Start(&htim1);
  /* USER CODE END TIM1_Init 2 */

}

static void MX_TIM2_Init(void)
{

  TIM_ClockConfigTypeDef sClockSourceConfig = {0};
  TIM_MasterConfigTypeDef sMasterConfig = {0};
  TIM_OC_InitTypeDef sConfigOC = {0};

  htim2.Instance = TIM2;
  htim2.Init.Prescaler = 0;
  htim2.Init.CounterMode = TIM_COUNTERMODE_UP;
  htim2.Init.Period = 3600;
  htim2.Init.ClockDivision = TIM_CLOCKDIVISION_DIV1;
  htim2.Init.AutoReloadPreload = TIM_AUTORELOAD_PRELOAD_DISABLE;
  if (HAL_TIM_Base_Init(&htim2) != HAL_OK)
  {
    Error_Handler();
  }
  sClockSourceConfig.ClockSource = TIM_CLOCKSOURCE_INTERNAL;
  if (HAL_TIM_ConfigClockSource(&htim2, &sClockSourceConfig) != HAL_OK)
  {
    Error_Handler();
  }
  if (HAL_TIM_PWM_Init(&htim2) != HAL_OK)
  {
    Error_Handler();
  }
  sMasterConfig.MasterOutputTrigger = TIM_TRGO_RESET;
  sMasterConfig.MasterSlaveMode = TIM_MASTERSLAVEMODE_DISABLE;
  if (HAL_TIMEx_MasterConfigSynchronization(&htim2, &sMasterConfig) != HAL_OK)
  {
    Error_Handler();
  }
  sConfigOC.OCMode = TIM_OCMODE_PWM1;
  sConfigOC.Pulse = 0;
  sConfigOC.OCPolarity = TIM_OCPOLARITY_HIGH;
  sConfigOC.OCFastMode = TIM_OCFAST_DISABLE;
  if (HAL_TIM_PWM_ConfigChannel(&htim2, &sConfigOC, TIM_CHANNEL_3) != HAL_OK)
  {
    Error_Handler();
  }
  sConfigOC.OCPolarity = TIM_OCPOLARITY_LOW;
  if (HAL_TIM_PWM_ConfigChannel(&htim2, &sConfigOC, TIM_CHANNEL_4) != HAL_OK)
  {
    Error_Handler();
  }
  /* USER CODE BEGIN TIM2_Init 2 */
  HAL_TIM_PWM_Start(&htim2, TIM_CHANNEL_3);
  HAL_TIM_PWM_Start(&htim2, TIM_CHANNEL_4);
  /* USER CODE END TIM2_Init 2 */
  HAL_TIM_MspPostInit(&htim2);

}

static void MX_TIM3_Init(void)
{

  TIM_ClockConfigTypeDef sClockSourceConfig = {0};
  TIM_MasterConfigTypeDef sMasterConfig = {0};
  TIM_OC_InitTypeDef sConfigOC = {0};

  htim3.Instance = TIM3;
  htim3.Init.Prescaler = 0;
  htim3.Init.CounterMode = TIM_COUNTERMODE_UP;
  htim3.Init.Period = 3600;
  htim3.Init.ClockDivision = TIM_CLOCKDIVISION_DIV1;
  htim3.Init.AutoReloadPreload = TIM_AUTORELOAD_PRELOAD_DISABLE;
  if (HAL_TIM_Base_Init(&htim3) != HAL_OK)
  {
    Error_Handler();
  }
  sClockSourceConfig.ClockSource = TIM_CLOCKSOURCE_INTERNAL;
  if (HAL_TIM_ConfigClockSource(&htim3, &sClockSourceConfig) != HAL_OK)
  {
    Error_Handler();
  }
  if (HAL_TIM_PWM_Init(&htim3) != HAL_OK)
  {
    Error_Handler();
  }
  sMasterConfig.MasterOutputTrigger = TIM_TRGO_RESET;
  sMasterConfig.MasterSlaveMode = TIM_MASTERSLAVEMODE_DISABLE;
  if (HAL_TIMEx_MasterConfigSynchronization(&htim3, &sMasterConfig) != HAL_OK)
  {
    Error_Handler();
  }
  sConfigOC.OCMode = TIM_OCMODE_PWM1;
  sConfigOC.Pulse = 0;
  sConfigOC.OCPolarity = TIM_OCPOLARITY_HIGH;
  sConfigOC.OCFastMode = TIM_OCFAST_DISABLE;
  if (HAL_TIM_PWM_ConfigChannel(&htim3, &sConfigOC, TIM_CHANNEL_1) != HAL_OK)
  {
    Error_Handler();
  }
  if (HAL_TIM_PWM_ConfigChannel(&htim3, &sConfigOC, TIM_CHANNEL_2) != HAL_OK)
  {
    Error_Handler();
  }
  if (HAL_TIM_PWM_ConfigChannel(&htim3, &sConfigOC, TIM_CHANNEL_3) != HAL_OK)
  {
    Error_Handler();
  }
  if (HAL_TIM_PWM_ConfigChannel(&htim3, &sConfigOC, TIM_CHANNEL_4) != HAL_OK)
  {
    Error_Handler();
  }
  /* USER CODE BEGIN TIM3_Init 2 */
  HAL_TIM_PWM_Start(&htim3, TIM_CHANNEL_1);
  HAL_TIM_PWM_Start(&htim3, TIM_CHANNEL_2);
  HAL_TIM_PWM_Start(&htim3, TIM_CHANNEL_3);
  HAL_TIM_PWM_Start(&htim3, TIM_CHANNEL_4);
  /* USER CODE END TIM3_Init 2 */
  HAL_TIM_MspPostInit(&htim3);

}

static void MX_TIM5_Init(void)
{

  TIM_ClockConfigTypeDef sClockSourceConfig = {0};
  TIM_MasterConfigTypeDef sMasterConfig = {0};
  TIM_IC_InitTypeDef sConfigIC = {0};

  htim5.Instance = TIM5;
  htim5.Init.Prescaler = 71;
  htim5.Init.CounterMode = TIM_COUNTERMODE_UP;
  htim5.Init.Period = 65535;
  htim5.Init.ClockDivision = TIM_CLOCKDIVISION_DIV1;
  htim5.Init.AutoReloadPreload = TIM_AUTORELOAD_PRELOAD_ENABLE;
  if (HAL_TIM_Base_Init(&htim5) != HAL_OK)
  {
    Error_Handler();
  }
  sClockSourceConfig.ClockSource = TIM_CLOCKSOURCE_INTERNAL;
  if (HAL_TIM_ConfigClockSource(&htim5, &sClockSourceConfig) != HAL_OK)
  {
    Error_Handler();
  }
  if (HAL_TIM_IC_Init(&htim5) != HAL_OK)
  {
    Error_Handler();
  }
  sMasterConfig.MasterOutputTrigger = TIM_TRGO_RESET;
  sMasterConfig.MasterSlaveMode = TIM_MASTERSLAVEMODE_DISABLE;
  if (HAL_TIMEx_MasterConfigSynchronization(&htim5, &sMasterConfig) != HAL_OK)
  {
    Error_Handler();
  }
  sConfigIC.ICPolarity = TIM_INPUTCHANNELPOLARITY_FALLING;
  sConfigIC.ICSelection = TIM_ICSELECTION_DIRECTTI;
  sConfigIC.ICPrescaler = TIM_ICPSC_DIV1;
  sConfigIC.ICFilter = 0;
  if (HAL_TIM_IC_ConfigChannel(&htim5, &sConfigIC, TIM_CHANNEL_2) != HAL_OK)
  {
    Error_Handler();
  }
  if (HAL_TIM_IC_ConfigChannel(&htim5, &sConfigIC, TIM_CHANNEL_3) != HAL_OK)
  {
    Error_Handler();
  }
  /* USER CODE BEGIN TIM5_Init 2 */
  //娑撻缚濡惇浣风娑擃亜褰夐柌蹇ョ礉缂佹瑧瀛╂径鏍ф嫲IMU閻ㄥ嚲IM5閻ㄥ嫭绺哄ú缁樻杹閸︺劋绨oardSupport.c闁诧拷
  /* USER CODE END TIM5_Init 2 */

}

static void MX_TIM8_Init(void)
{

  TIM_ClockConfigTypeDef sClockSourceConfig = {0};
  TIM_MasterConfigTypeDef sMasterConfig = {0};

  htim8.Instance = TIM8;
  htim8.Init.Prescaler = 71;
  htim8.Init.CounterMode = TIM_COUNTERMODE_UP;
  htim8.Init.Period = 999;
  htim8.Init.ClockDivision = TIM_CLOCKDIVISION_DIV1;
  htim8.Init.RepetitionCounter = 0;
  htim8.Init.AutoReloadPreload = TIM_AUTORELOAD_PRELOAD_DISABLE;
  if (HAL_TIM_Base_Init(&htim8) != HAL_OK)
  {
    Error_Handler();
  }
  sClockSourceConfig.ClockSource = TIM_CLOCKSOURCE_INTERNAL;
  if (HAL_TIM_ConfigClockSource(&htim8, &sClockSourceConfig) != HAL_OK)
  {
    Error_Handler();
  }
  sMasterConfig.MasterOutputTrigger = TIM_TRGO_UPDATE;
  sMasterConfig.MasterSlaveMode = TIM_MASTERSLAVEMODE_DISABLE;
  if (HAL_TIMEx_MasterConfigSynchronization(&htim8, &sMasterConfig) != HAL_OK)
  {
    Error_Handler();
  }
  /* USER CODE BEGIN TIM8_Init 2 */
  HAL_TIM_Base_Start(&htim8);
  /* USER CODE END TIM8_Init 2 */

}

static void MX_UART4_Init(void)
{

  huart4.Instance = UART4;
  huart4.Init.BaudRate = 115200;
  huart4.Init.WordLength = UART_WORDLENGTH_8B;
  huart4.Init.StopBits = UART_STOPBITS_1;
  huart4.Init.Parity = UART_PARITY_NONE;
  huart4.Init.Mode = UART_MODE_TX_RX;
  huart4.Init.HwFlowCtl = UART_HWCONTROL_NONE;
  huart4.Init.OverSampling = UART_OVERSAMPLING_16;
  if (HAL_UART_Init(&huart4) != HAL_OK)
  {
    Error_Handler();
  }

}

static void MX_USART1_UART_Init(void)
{

  huart1.Instance = USART1;
  huart1.Init.BaudRate = 115200;
  huart1.Init.WordLength = UART_WORDLENGTH_8B;
  huart1.Init.StopBits = UART_STOPBITS_1;
  huart1.Init.Parity = UART_PARITY_NONE;
  huart1.Init.Mode = UART_MODE_TX_RX;
  huart1.Init.HwFlowCtl = UART_HWCONTROL_NONE;
  huart1.Init.OverSampling = UART_OVERSAMPLING_16;
  if (HAL_UART_Init(&huart1) != HAL_OK)
  {
    Error_Handler();
  }

}

static void MX_USART3_UART_Init(void)
{

  huart3.Instance = USART3;
  huart3.Init.BaudRate = 115200;
  huart3.Init.WordLength = UART_WORDLENGTH_8B;
  huart3.Init.StopBits = UART_STOPBITS_1;
  huart3.Init.Parity = UART_PARITY_NONE;
  huart3.Init.Mode = UART_MODE_TX_RX;
  huart3.Init.HwFlowCtl = UART_HWCONTROL_NONE;
  huart3.Init.OverSampling = UART_OVERSAMPLING_16;
  if (HAL_UART_Init(&huart3) != HAL_OK)
  {
    Error_Handler();
  }

}

static void MX_DMA_Init(void)
{

  /* DMA controller clock enable */
  __HAL_RCC_DMA1_CLK_ENABLE();
  __HAL_RCC_DMA2_CLK_ENABLE();

  /* DMA interrupt init */
  /* DMA1_Channel1_IRQn interrupt configuration */
  HAL_NVIC_SetPriority(DMA1_Channel1_IRQn, 5, 0);
  HAL_NVIC_EnableIRQ(DMA1_Channel1_IRQn);
  /* DMA1_Channel2_IRQn interrupt configuration */
  HAL_NVIC_SetPriority(DMA1_Channel2_IRQn, 5, 0);
  HAL_NVIC_EnableIRQ(DMA1_Channel2_IRQn);
  /* DMA1_Channel3_IRQn interrupt configuration */
  HAL_NVIC_SetPriority(DMA1_Channel3_IRQn, 5, 0);
  HAL_NVIC_EnableIRQ(DMA1_Channel3_IRQn);
  /* DMA1_Channel4_IRQn interrupt configuration */
  HAL_NVIC_SetPriority(DMA1_Channel4_IRQn, 5, 0);
  HAL_NVIC_EnableIRQ(DMA1_Channel4_IRQn);
  /* DMA1_Channel5_IRQn interrupt configuration */
  HAL_NVIC_SetPriority(DMA1_Channel5_IRQn, 5, 0);
  HAL_NVIC_EnableIRQ(DMA1_Channel5_IRQn);
  /* DMA2_Channel3_IRQn interrupt configuration */
  HAL_NVIC_SetPriority(DMA2_Channel3_IRQn, 5, 0);
  HAL_NVIC_EnableIRQ(DMA2_Channel3_IRQn);
  /* DMA2_Channel4_5_IRQn interrupt configuration */
  HAL_NVIC_SetPriority(DMA2_Channel4_5_IRQn, 5, 0);
  HAL_NVIC_EnableIRQ(DMA2_Channel4_5_IRQn);

}

static void MX_GPIO_Init(void)
{
  GPIO_InitTypeDef GPIO_InitStruct = {0};

  /* GPIO Ports Clock Enable */
  __HAL_RCC_GPIOE_CLK_ENABLE();
  __HAL_RCC_GPIOC_CLK_ENABLE();
  __HAL_RCC_GPIOA_CLK_ENABLE();
  __HAL_RCC_GPIOB_CLK_ENABLE();
  __HAL_RCC_GPIOD_CLK_ENABLE();

  /*Configure GPIO pin Output Level */
  HAL_GPIO_WritePin(SPI1_nss_IMU_GPIO_Port, SPI1_nss_IMU_Pin, GPIO_PIN_RESET);

  /*Configure GPIO pin Output Level */
  HAL_GPIO_WritePin(GPIOE, red_led_Pin|blue_led_Pin|green_led_Pin|test_Pin
                          |testE13_Pin|other_3_3_en_Pin, GPIO_PIN_RESET);

  /*Configure GPIO pin Output Level */
  HAL_GPIO_WritePin(right_pump_output_GPIO_Port, right_pump_output_Pin, GPIO_PIN_RESET);

  /*Configure GPIO pin Output Level */
  HAL_GPIO_WritePin(left_pump_output_GPIO_Port, left_pump_output_Pin, GPIO_PIN_RESET);

  /*Configure GPIO pin Output Level */
  HAL_GPIO_WritePin(GPIOB, air_sda_Pin|air_scl_Pin, GPIO_PIN_SET);

  /*Configure GPIO pins : cliff_btn_left_down_Pin machine_start_or_stop_control_Pin */
  GPIO_InitStruct.Pin = cliff_btn_left_down_Pin|machine_start_or_stop_control_Pin;
  GPIO_InitStruct.Mode = GPIO_MODE_INPUT;
  GPIO_InitStruct.Pull = GPIO_NOPULL;
  HAL_GPIO_Init(GPIOE, &GPIO_InitStruct);

  /*Configure GPIO pins : cliff_btn_right_down_Pin cliff_btn_left_up_Pin */
  GPIO_InitStruct.Pin = cliff_btn_right_down_Pin|cliff_btn_left_up_Pin;
  GPIO_InitStruct.Mode = GPIO_MODE_INPUT;
  GPIO_InitStruct.Pull = GPIO_NOPULL;
  HAL_GPIO_Init(GPIOA, &GPIO_InitStruct);

  /*Configure GPIO pin : SPI1_nss_IMU_Pin */
  GPIO_InitStruct.Pin = SPI1_nss_IMU_Pin;
  GPIO_InitStruct.Mode = GPIO_MODE_OUTPUT_PP;
  GPIO_InitStruct.Pull = GPIO_NOPULL;
  GPIO_InitStruct.Speed = GPIO_SPEED_FREQ_LOW;
  HAL_GPIO_Init(SPI1_nss_IMU_GPIO_Port, &GPIO_InitStruct);

  /*Configure GPIO pins : right_bounce_btn_____Pin right_bounce_btn____C5_Pin */
  GPIO_InitStruct.Pin = right_bounce_btn_____Pin|right_bounce_btn____C5_Pin;
  GPIO_InitStruct.Mode = GPIO_MODE_INPUT;
  GPIO_InitStruct.Pull = GPIO_NOPULL;
  HAL_GPIO_Init(GPIOC, &GPIO_InitStruct);

  /*Configure GPIO pins : right_bounce_btn____B0_Pin right_bounce_btn____B1_Pin */
  GPIO_InitStruct.Pin = right_bounce_btn____B0_Pin|right_bounce_btn____B1_Pin;
  GPIO_InitStruct.Mode = GPIO_MODE_INPUT;
  GPIO_InitStruct.Pull = GPIO_NOPULL;
  HAL_GPIO_Init(GPIOB, &GPIO_InitStruct);

  /*Configure GPIO pin : cliff_btn_right_up_Pin */
  GPIO_InitStruct.Pin = cliff_btn_right_up_Pin;
  GPIO_InitStruct.Mode = GPIO_MODE_INPUT;
  GPIO_InitStruct.Pull = GPIO_PULLUP;
  HAL_GPIO_Init(cliff_btn_right_up_GPIO_Port, &GPIO_InitStruct);

  /*Configure GPIO pins : red_led_Pin blue_led_Pin green_led_Pin other_3_3_en_Pin */
  GPIO_InitStruct.Pin = red_led_Pin|blue_led_Pin|green_led_Pin|other_3_3_en_Pin;
  GPIO_InitStruct.Mode = GPIO_MODE_OUTPUT_PP;
  GPIO_InitStruct.Pull = GPIO_PULLUP;
  GPIO_InitStruct.Speed = GPIO_SPEED_FREQ_LOW;
  HAL_GPIO_Init(GPIOE, &GPIO_InitStruct);

  /*Configure GPIO pins : test_Pin testE13_Pin */
  GPIO_InitStruct.Pin = test_Pin|testE13_Pin;
  GPIO_InitStruct.Mode = GPIO_MODE_OUTPUT_PP;
  GPIO_InitStruct.Pull = GPIO_NOPULL;
  GPIO_InitStruct.Speed = GPIO_SPEED_FREQ_LOW;
  HAL_GPIO_Init(GPIOE, &GPIO_InitStruct);

  /*Configure GPIO pin : right_pump_output_Pin */
  GPIO_InitStruct.Pin = right_pump_output_Pin;
  GPIO_InitStruct.Mode = GPIO_MODE_OUTPUT_PP;
  GPIO_InitStruct.Pull = GPIO_PULLUP;
  GPIO_InitStruct.Speed = GPIO_SPEED_FREQ_LOW;
  HAL_GPIO_Init(right_pump_output_GPIO_Port, &GPIO_InitStruct);

  /*Configure GPIO pin : left_pump_output_Pin */
  GPIO_InitStruct.Pin = left_pump_output_Pin;
  GPIO_InitStruct.Mode = GPIO_MODE_OUTPUT_PP;
  GPIO_InitStruct.Pull = GPIO_PULLUP;
  GPIO_InitStruct.Speed = GPIO_SPEED_FREQ_LOW;
  HAL_GPIO_Init(left_pump_output_GPIO_Port, &GPIO_InitStruct);

  /*Configure GPIO pins : left_bounce_btn_____Pin left_bounce_btn____D3_Pin left_bounce_btn____D4_Pin left_bounce_btn____D5_Pin */
  GPIO_InitStruct.Pin = left_bounce_btn_____Pin|left_bounce_btn____D3_Pin|left_bounce_btn____D4_Pin|left_bounce_btn____D5_Pin;
  GPIO_InitStruct.Mode = GPIO_MODE_INPUT;
  GPIO_InitStruct.Pull = GPIO_NOPULL;
  HAL_GPIO_Init(GPIOD, &GPIO_InitStruct);

  /*Configure GPIO pin : pump_input_Pin */
  GPIO_InitStruct.Pin = pump_input_Pin;
  GPIO_InitStruct.Mode = GPIO_MODE_INPUT;
  GPIO_InitStruct.Pull = GPIO_PULLUP;
  HAL_GPIO_Init(pump_input_GPIO_Port, &GPIO_InitStruct);

  /*Configure GPIO pins : air_sda_Pin air_scl_Pin */
  GPIO_InitStruct.Pin = air_sda_Pin|air_scl_Pin;
  GPIO_InitStruct.Mode = GPIO_MODE_OUTPUT_OD;
  GPIO_InitStruct.Pull = GPIO_PULLUP;
  GPIO_InitStruct.Speed = GPIO_SPEED_FREQ_HIGH;
  HAL_GPIO_Init(GPIOB, &GPIO_InitStruct);

/* USER CODE BEGIN MX_GPIO_Init_2 */
  /*Configure GPIO pin : BMI270_INT_Pin */
	GPIO_InitStruct.Pin = BMI270_INT_Pin;
	GPIO_InitStruct.Mode = GPIO_MODE_IT_RISING_FALLING;
	GPIO_InitStruct.Pull = GPIO_PULLDOWN;
	HAL_GPIO_Init(BMI270_INT_GPIO_Port, &GPIO_InitStruct);

	/* 初始化GPRS使能引脚 */
	GPIO_InitStruct.Pin = GPRS_4G_EN_Pin;
	GPIO_InitStruct.Mode = GPIO_MODE_OUTPUT_PP;
	GPIO_InitStruct.Pull = GPIO_PULLUP;
	GPIO_InitStruct.Speed = GPIO_SPEED_FREQ_LOW;
	HAL_GPIO_Init(GPRS_4G_EN_Port, &GPIO_InitStruct);

	/* EXTI interrupt init*/
	HAL_NVIC_SetPriority(EXTI1_IRQn, 0, 0);
	HAL_NVIC_EnableIRQ(EXTI1_IRQn);
/* USER CODE END MX_GPIO_Init_2 */
}

__weak void StartDefaultTask(void const * argument)
{
  for(;;)
  {
    osDelay(1);
  }
}

void Error_Handler(void)
{
  __disable_irq();
  while (1)
  {
  }
}

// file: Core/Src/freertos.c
/* USER CODE BEGIN Header */
/**
  ******************************************************************************
  * File Name          : freertos.c
  * Description        : Code for freertos applications
  ******************************************************************************
  * @attention
  *
  * Copyright (c) 2024 STMicroelectronics.
  * All rights reserved.
  *
  * This software is licensed under terms that can be found in the LICENSE file
  * in the root directory of this software component.
  * If no LICENSE file comes with this software, it is provided AS-IS.
  *
  ******************************************************************************
  */
/* USER CODE END Header */

#include "FreeRTOS.h"
#include "task.h"
#include "main.h"

/* GetIdleTaskMemory prototype (linked to static allocation support) */
void vApplicationGetIdleTaskMemory( StaticTask_t **ppxIdleTaskTCBBuffer, StackType_t **ppxIdleTaskStackBuffer, uint32_t *pulIdleTaskStackSize );

/* Hook prototypes */
void vApplicationTickHook(void);

/* USER CODE BEGIN GET_IDLE_TASK_MEMORY */
static StaticTask_t xIdleTaskTCBBuffer;
static StackType_t xIdleStack[configMINIMAL_STACK_SIZE];

void vApplicationGetIdleTaskMemory( StaticTask_t **ppxIdleTaskTCBBuffer, StackType_t **ppxIdleTaskStackBuffer, uint32_t *pulIdleTaskStackSize )
{
  *ppxIdleTaskTCBBuffer = &xIdleTaskTCBBuffer;
  *ppxIdleTaskStackBuffer = &xIdleStack[0];
  *pulIdleTaskStackSize = configMINIMAL_STACK_SIZE;
  /* place for user code */
}
/* USER CODE END GET_IDLE_TASK_MEMORY */
